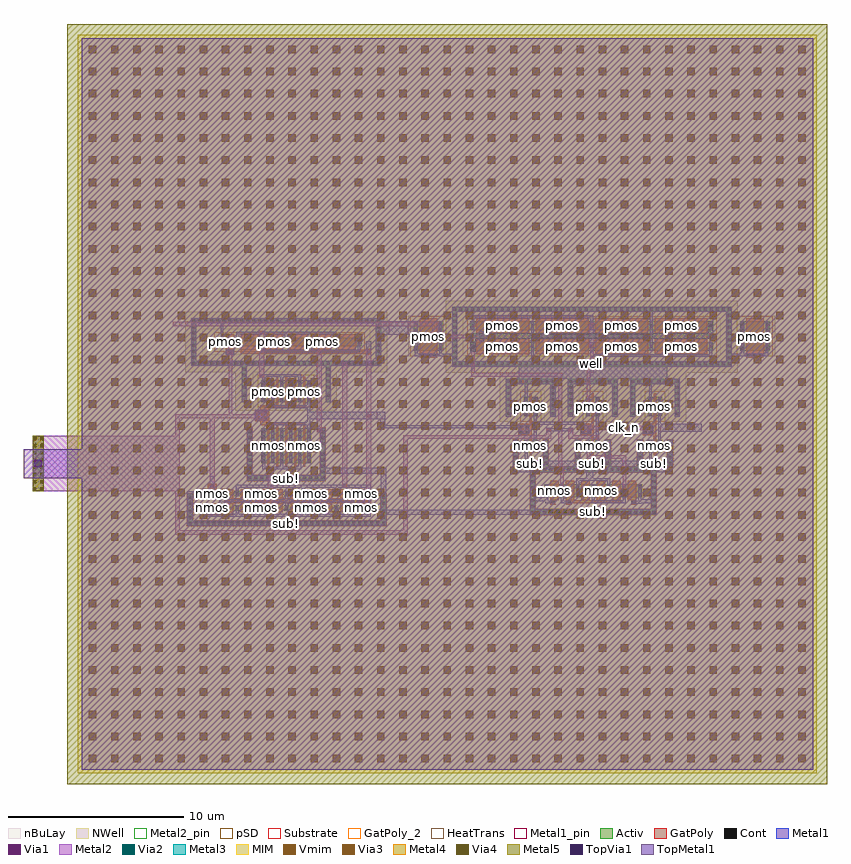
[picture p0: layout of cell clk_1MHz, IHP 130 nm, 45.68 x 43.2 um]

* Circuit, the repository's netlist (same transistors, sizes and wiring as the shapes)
** sch_path: /foss/designs/xschemas/clk_1MHz.sch
.subckt clk_1MHz VDD VSS VOUT I1u nbulk
*.PININFO VDD:B VSS:B VOUT:O I1u:I
XINV1 VDD Pbulk VOUT2 net1 Nbulk VSS ring_inv
XINV3 net2 Pbulk net3 VOUT2 Nbulk cpy_n ring_inv
XSCHMITT1 VSS VDD net1 net3 Nbulk VDD ring_schmitt
M2 net2 I1u VDD Pbulk sg13_lv_pmos w=3u l=3u ng=6
M3 cpy_n ref_n VSS Nbulk sg13_lv_nmos w=0.75u l=0.5u ng=1 m=3
M4 ref_n I1u VDD Pbulk sg13_lv_pmos w=1u l=3u ng=2
M5 ref_n ref_n VSS Nbulk sg13_lv_nmos w=0.75u l=0.5u ng=1
XINV2 VDD Pbulk VOUT VOUT2 Nbulk VSS ring_inv
C1 net3 VSS cap_cmim w=42e-6 l=42e-6
R1 VSS Nbulk ptap1 A=16.9974e-12 P=106.74e-6
R2 VDD Pbulk ntap1 A=17.115e-12 P=115.9e-6
M1 ref_n VSS VSS Nbulk sg13_lv_nmos w=0.75u l=0.5u ng=1
M6 VSS VSS cpy_n Nbulk sg13_lv_nmos w=0.75u l=0.5u ng=1
M7 VDD VDD VDD Pbulk sg13_lv_pmos w=1.68u l=1u ng=1 m=2
.ends

* expanding   symbol:  /foss/designs/xschemas/ring_inv.sym # of pins=6
** sym_path: /foss/designs/xschemas/ring_inv.sym
** sch_path: /foss/designs/xschemas/ring_inv.sch
.subckt ring_inv VDP Pbulk Y A Nbulk VSN
*.PININFO A:I Y:O Pbulk:B Nbulk:B VDP:B VSN:B
M1 Y A VSN Nbulk sg13_lv_nmos w=0.7u l=0.13u ng=1
M2 Y A VDP Pbulk sg13_lv_pmos w=1.12u l=0.13u ng=1
.ends


* expanding   symbol:  /foss/designs/xschemas/ring_schmitt.sym # of pins=4
** sym_path: /foss/designs/xschemas/ring_schmitt.sym
** sch_path: /foss/designs/xschemas/ring_schmitt.sch
.subckt ring_schmitt VSS VDD Y A nbulk pbulk
*.PININFO A:I Y:O VDD:B VSS:B
M1 Y A VSPL nbulk sg13_lv_nmos w=10u l=0.13u ng=5
M2 Y A net1 pbulk sg13_lv_pmos w=6.25u l=0.13u ng=5
M3 VSPL A VSS nbulk sg13_lv_nmos w=0.155u l=0.5u ng=1
M4 net1 A VDD pbulk sg13_lv_pmos w=0.5u l=0.5u ng=1
M5 VSS Y net1 pbulk sg13_lv_pmos w=2.5u l=1u ng=1
M6 VDD Y VSPL nbulk sg13_lv_nmos w=2.945u l=0.5u ng=19
.ends

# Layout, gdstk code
import gdstk
lib = gdstk.Library(unit=1e-6, precision=1e-09)
def R(c, l, rs):  # rectangles x0, y0, x1, y1
    for r in rs: c.add(gdstk.rectangle(r[:2], r[2:], *l))
def A(c, l, x, y, w, h, nx, ny, dx, dy):  # array of equal rectangles
    R(c, l, [(x+i*dx, y+j*dy, x+i*dx+w, y+j*dy+h) for i in range(nx) for j in range(ny)])
def P(c, l, *ps):  # polygons
    for p in ps: c.add(gdstk.Polygon(p, *l))
Activ = (1, 0)
GatPoly = (5, 0)
GatPoly_2 = (5, 2)
Cont = (6, 0)
Metal1 = (8, 0)
Metal1_pin = (8, 2)
Metal2 = (10, 0)
Metal2_pin = (10, 2)
pSD = (14, 0)
Via1 = (19, 0)
Via2 = (29, 0)
Metal3 = (30, 0)
NWell = (31, 0)
nBuLay = (32, 0)
MIM = (36, 0)
Substrate = (40, 0)
Via3 = (49, 0)
Metal4 = (50, 0)
HeatTrans = (51, 0)
Via4 = (66, 0)
Metal5 = (67, 0)
TopVia1 = (125, 0)
TopMetal1 = (126, 0)
Vmim = (129, 0)

clk_1mhz = lib.new_cell('clk_1MHz')
A(clk_1mhz, Activ, 10.1, 15.545, 0.3, 0.3, 11, 2, 0.94, 0.815)
A(clk_1mhz, Activ, 29.585, 16.295, 0.3, 0.3, 7, 1, 0.88, 0)
A(clk_1mhz, Activ, 13.495, 18.22, 0.3, 0.3, 6, 2, 0.51, 3.485)
A(clk_1mhz, Activ, 28.415, 18.865, 0.81, 0.7, 3, 1, 3.53, 0)
A(clk_1mhz, Activ, 28.415, 20.9, 0.81, 1.12, 3, 1, 3.53, 0)
A(clk_1mhz, Activ, 27.405, 22.73, 2.83, 0.3, 3, 1, 3.53, 0)
A(clk_1mhz, Activ, 25.385, 24.815, 0.3, 0.3, 5, 2, 3.38, 1.18)
A(clk_1mhz, Activ, 12.01, 24.875, 0.3, 0.3, 6, 1, 1.38, 0)
R(clk_1mhz, Activ, [(9.3,14.675,20.6,14.975), (9.3,14.975,9.6,16.49), (20.3,14.975,20.6,16.49), (28.785,15.315,35.965,15.615), (10.1,15.615,19.8,15.77), (28.785,15.615,29.085,17.725), (35.665,15.615,35.965,17.725), (29.585,16.295,35.165,17.045), (10.1,16.43,19.8,16.585), (12.695,17.24,17.145,17.54), (12.695,17.54,12.995,20.22), (16.845,17.54,17.145,20.22), (31.345,18.02,33.355,18.085), (28.785,18.025,29.825,18.085), (34.875,18.025,35.965,18.085), (13.495,18.22,16.345,20.22), (28.415,18.865,28.715,19.165), (28.925,18.865,29.225,19.165), (31.945,18.865,32.245,19.165), (32.455,18.865,32.755,19.165), (35.475,18.865,35.775,19.165), (35.985,18.865,36.285,19.165), (27.405,20.87,27.705,22.73), (29.935,20.87,30.235,22.73), (30.935,20.87,31.235,22.73), (33.465,20.87,33.765,22.73), (34.465,20.87,34.765,22.73), (36.995,20.87,37.295,22.73), (28.415,20.9,28.715,21.2), (28.925,20.9,29.225,21.2), (31.945,20.9,32.245,21.2), (32.455,20.9,32.755,21.2), (35.475,20.9,35.775,21.2), (35.985,20.9,36.285,21.2), (12.385,21.705,12.685,23.765), (13.495,21.705,16.345,22.955), (17.155,21.705,17.455,23.765), (24.345,23.73,40.245,24.03), (12.385,23.765,17.455,24.065), (24.345,24.03,24.645,26.83), (39.945,24.03,40.245,26.83), (9.52,24.065,9.82,26.185), (20.02,24.065,20.32,26.185), (22.16,24.615,22.46,24.915), (22.16,24.615,23.84,26.295), (23.54,24.615,23.84,24.915), (25.385,24.615,39.205,25.115), (40.72,24.615,41.02,24.915), (40.72,24.615,42.4,26.295), (42.1,24.615,42.4,24.915), (11.07,24.875,19.21,25.375), (11.125,24.875,11.425,25.175), (25.385,25.795,39.205,26.295), (9.52,26.185,20.32,26.485)])
P(clk_1mhz, Activ, [(24.345,23.73),(24.345,26.83),(24.645,26.83),(24.645,24.03),(39.945,24.03),(39.945,26.83),(24.345,26.83),(24.345,27.13),(40.245,27.13),(40.245,23.73)],
  [(31.345,18.085),(31.345,19.565),(31.645,19.565),(31.645,18.385),(33.055,18.385),(33.055,19.565),(33.355,19.565),(33.355,18.085)],
  [(27.815,18.085),(27.815,19.565),(28.115,19.565),(28.115,18.385),(29.525,18.385),(29.525,19.565),(29.825,19.565),(29.825,18.085)],
  [(34.875,18.085),(34.875,19.565),(35.175,19.565),(35.175,18.385),(36.585,18.385),(36.585,19.565),(36.885,19.565),(36.885,18.085)],
  [(28.785,15.315),(28.785,17.725),(29.085,17.725),(29.085,15.615),(35.665,15.615),(35.665,17.725),(28.785,17.725),(28.785,18.025),(35.965,18.025),(35.965,15.315)],
  [(9.52,23.765),(9.52,26.185),(9.82,26.185),(9.82,24.065),(20.02,24.065),(20.02,26.185),(9.52,26.185),(9.52,26.485),(20.32,26.485),(20.32,23.765)])
R(clk_1mhz, GatPoly, [(10.47,16.25,10.97,17.065), (11.47,24.395,11.97,25.555)])
P(clk_1mhz, GatPoly, [(10.47,15.285),(10.47,15.95),(10.97,15.95),(10.97,15.435),(11.41,15.435),(11.41,16.765),(11.91,16.765),(11.91,16.25),(12.35,16.25),(12.35,16.765),(12.85,16.765),(12.85,16.25),(13.29,16.25),(13.29,16.765),(13.79,16.765),(13.79,16.25),(14.23,16.25),(14.23,16.765),(14.73,16.765),(14.73,16.25),(15.17,16.25),(15.17,16.765),(15.67,16.765),(15.67,16.25),(16.11,16.25),(16.11,16.765),(16.61,16.765),(16.61,16.25),(17.05,16.25),(17.05,16.765),(17.55,16.765),(17.55,16.25),(17.99,16.25),(17.99,16.765),(18.49,16.765),(18.49,16.25),(18.93,16.25),(18.93,16.765),(19.43,16.765),(19.43,16.25),(19.57,16.25),(19.57,15.95),(19.43,15.95),(19.43,15.435),(18.93,15.435),(18.93,15.95),(18.49,15.95),(18.49,15.435),(17.99,15.435),(17.99,15.95),(17.55,15.95),(17.55,15.435),(17.05,15.435),(17.05,15.95),(16.61,15.95),(16.61,15.435),(16.11,15.435),(16.11,15.95),(15.67,15.95),(15.67,15.435),(15.17,15.435),(15.17,15.95),(14.73,15.95),(14.73,15.435),(14.23,15.435),(14.23,15.95),(13.79,15.95),(13.79,15.435),(13.29,15.435),(13.29,15.95),(12.85,15.95),(12.85,15.435),(12.35,15.435),(12.35,15.95),(11.91,15.95),(11.91,15.285)],
  [(29.925,15.875),(29.925,17.225),(30.425,17.225),(30.425,16.115),(30.225,16.115),(30.225,15.875)],
  [(30.845,15.875),(30.845,15.955),(30.805,15.955),(30.805,17.225),(31.305,17.225),(31.305,16.115),(31.685,16.115),(31.685,17.225),(32.185,17.225),(32.185,16.115),(32.565,16.115),(32.565,17.225),(33.065,17.225),(33.065,16.115),(33.445,16.115),(33.445,17.225),(33.945,17.225),(33.945,15.955),(31.145,15.955),(31.145,15.875)],
  [(34.525,15.865),(34.525,16.115),(34.325,16.115),(34.325,17.225),(34.825,17.225),(34.825,15.865)],
  [(28.755,18.685),(28.755,19.825),(28.115,19.825),(28.115,20.465),(28.755,20.465),(28.755,22.2),(28.885,22.2),(28.885,18.685)],
  [(32.285,18.685),(32.285,19.825),(31.645,19.825),(31.645,20.465),(32.285,20.465),(32.285,22.2),(32.415,22.2),(32.415,18.685)],
  [(35.815,18.685),(35.815,19.825),(35.175,19.825),(35.175,20.465),(35.815,20.465),(35.815,22.2),(35.945,22.2),(35.945,18.685)],
  [(13.835,18.04),(13.835,20.4),(13.45,20.4),(13.45,20.63),(13.17,20.63),(13.17,21.27),(13.45,21.27),(13.45,21.525),(13.835,21.525),(13.835,23.135),(13.965,23.135),(13.965,21.525),(14.345,21.525),(14.345,23.135),(14.475,23.135),(14.475,21.525),(14.855,21.525),(14.855,23.135),(14.985,23.135),(14.985,21.525),(15.365,21.525),(15.365,23.135),(15.495,23.135),(15.495,21.525),(15.875,21.525),(15.875,23.135),(16.005,23.135),(16.005,21.395),(13.965,21.395),(13.965,20.53),(16.005,20.53),(16.005,18.04),(15.875,18.04),(15.875,20.4),(15.495,20.4),(15.495,18.04),(15.365,18.04),(15.365,20.4),(14.985,20.4),(14.985,18.04),(14.855,18.04),(14.855,20.4),(14.475,20.4),(14.475,18.04),(14.345,18.04),(14.345,20.4),(13.965,20.4),(13.965,18.04)],
  [(19.455,24.435),(19.455,24.47),(12.35,24.47),(12.35,25.555),(13.35,25.555),(13.35,24.695),(13.73,24.695),(13.73,25.555),(14.73,25.555),(14.73,24.695),(15.11,24.695),(15.11,25.555),(16.11,25.555),(16.11,24.695),(16.49,24.695),(16.49,25.555),(17.49,25.555),(17.49,24.695),(17.87,24.695),(17.87,25.555),(18.87,25.555),(18.87,24.695),(19.455,24.695),(19.455,24.735),(19.755,24.735),(19.755,24.435)],
  [(22.52,24.24),(22.52,24.435),(22.5,24.435),(22.5,26.475),(23.5,26.475),(23.5,24.24)],
  [(25.725,24.435),(25.725,26.475),(28.725,26.475),(28.725,25.615),(29.105,25.615),(29.105,26.475),(32.105,26.475),(32.105,25.615),(32.485,25.615),(32.485,26.475),(35.485,26.475),(35.485,25.615),(35.865,25.615),(35.865,26.475),(38.865,26.475),(38.865,24.435),(35.865,24.435),(35.865,25.295),(35.485,25.295),(35.485,24.435),(32.485,24.435),(32.485,25.295),(32.105,25.295),(32.105,24.435),(29.105,24.435),(29.105,25.295),(28.725,25.295),(28.725,24.435)],
  [(41.06,24.24),(41.06,26.475),(42.06,26.475),(42.06,24.435),(42.04,24.435),(42.04,24.24)])
A(clk_1mhz, GatPoly_2, 28.755, 18.685, 0.13, 1.06, 3, 1, 3.53, 0)
R(clk_1mhz, GatPoly_2, [(10.47,15.435,10.97,15.95), (29.925,16.115,30.425,17.225), (10.47,16.25,10.97,16.765), (15.875,18.04,16.005,20.4)])
A(clk_1mhz, Cont, 9.37, 14.745, 0.16, 0.16, 16, 1, 0.34, 0)
A(clk_1mhz, Cont, 14.93, 14.745, 0.16, 0.16, 17, 1, 0.34, 0)
A(clk_1mhz, Cont, 28.855, 15.385, 0.16, 0.16, 10, 2, 0.34, 2.41)
A(clk_1mhz, Cont, 32.335, 15.385, 0.16, 0.16, 11, 2, 0.34, 2.41)
A(clk_1mhz, Cont, 10.17, 15.615, 0.16, 0.16, 11, 2, 0.94, 0.815)
A(clk_1mhz, Cont, 28.855, 15.725, 0.16, 0.16, 1, 3, 0, 0.34)
A(clk_1mhz, Cont, 35.735, 15.725, 0.16, 0.16, 1, 3, 0, 0.34)
A(clk_1mhz, Cont, 29.655, 16.365, 0.16, 0.16, 7, 2, 0.88, 0.45)
A(clk_1mhz, Cont, 28.855, 16.775, 0.16, 0.16, 1, 3, 0, 0.34)
A(clk_1mhz, Cont, 35.735, 16.775, 0.16, 0.16, 1, 3, 0, 0.34)
A(clk_1mhz, Cont, 12.765, 17.31, 0.16, 0.16, 7, 1, 0.34, 0)
A(clk_1mhz, Cont, 15.215, 17.31, 0.16, 0.16, 6, 1, 0.34, 0)
A(clk_1mhz, Cont, 12.765, 17.65, 0.16, 0.16, 1, 4, 0, 0.34)
A(clk_1mhz, Cont, 16.915, 17.65, 0.16, 0.16, 1, 4, 0, 0.34)
A(clk_1mhz, Cont, 27.885, 18.155, 0.16, 0.16, 3, 1, 0.34, 0)
A(clk_1mhz, Cont, 28.915, 18.155, 0.16, 0.16, 3, 1, 0.34, 0)
A(clk_1mhz, Cont, 31.415, 18.155, 0.16, 0.16, 3, 1, 0.34, 0)
A(clk_1mhz, Cont, 32.445, 18.155, 0.16, 0.16, 3, 1, 0.34, 0)
A(clk_1mhz, Cont, 34.945, 18.155, 0.16, 0.16, 3, 1, 0.34, 0)
A(clk_1mhz, Cont, 35.975, 18.155, 0.16, 0.16, 3, 1, 0.34, 0)
A(clk_1mhz, Cont, 13.565, 18.29, 0.16, 0.16, 6, 6, 0.51, 0.34)
A(clk_1mhz, Cont, 29.595, 19.195, 0.16, 0.16, 3, 1, 3.53, 0)
A(clk_1mhz, Cont, 27.885, 19.2, 0.16, 0.16, 3, 1, 3.53, 0)
A(clk_1mhz, Cont, 12.765, 19.27, 0.16, 0.16, 1, 3, 0, 0.34)
A(clk_1mhz, Cont, 16.915, 19.27, 0.16, 0.16, 1, 3, 0, 0.34)
A(clk_1mhz, Cont, 28.485, 20.97, 0.16, 0.16, 1, 3, 0, 0.41)
A(clk_1mhz, Cont, 28.995, 20.97, 0.16, 0.16, 1, 3, 0, 0.41)
A(clk_1mhz, Cont, 32.015, 20.97, 0.16, 0.16, 1, 3, 0, 0.41)
A(clk_1mhz, Cont, 32.525, 20.97, 0.16, 0.16, 1, 3, 0, 0.41)
A(clk_1mhz, Cont, 35.545, 20.97, 0.16, 0.16, 1, 3, 0, 0.41)
A(clk_1mhz, Cont, 36.055, 20.97, 0.16, 0.16, 1, 3, 0, 0.41)
A(clk_1mhz, Cont, 27.475, 21.44, 0.16, 0.16, 1, 4, 0, 0.34)
A(clk_1mhz, Cont, 30.005, 21.44, 0.16, 0.16, 1, 4, 0, 0.34)
A(clk_1mhz, Cont, 31.005, 21.44, 0.16, 0.16, 1, 4, 0, 0.34)
A(clk_1mhz, Cont, 33.535, 21.44, 0.16, 0.16, 1, 4, 0, 0.34)
A(clk_1mhz, Cont, 34.535, 21.44, 0.16, 0.16, 1, 4, 0, 0.34)
A(clk_1mhz, Cont, 37.065, 21.44, 0.16, 0.16, 1, 4, 0, 0.34)
A(clk_1mhz, Cont, 13.565, 21.775, 0.16, 0.16, 6, 3, 0.51, 0.475)
A(clk_1mhz, Cont, 12.455, 22.475, 0.16, 0.16, 1, 4, 0, 0.34)
A(clk_1mhz, Cont, 17.225, 22.475, 0.16, 0.16, 1, 4, 0, 0.34)
A(clk_1mhz, Cont, 27.475, 22.8, 0.16, 0.16, 4, 1, 0.34, 0)
A(clk_1mhz, Cont, 28.985, 22.8, 0.16, 0.16, 4, 1, 0.34, 0)
A(clk_1mhz, Cont, 31.005, 22.8, 0.16, 0.16, 4, 1, 0.34, 0)
A(clk_1mhz, Cont, 32.515, 22.8, 0.16, 0.16, 4, 1, 0.34, 0)
A(clk_1mhz, Cont, 34.535, 22.8, 0.16, 0.16, 4, 1, 0.34, 0)
A(clk_1mhz, Cont, 36.045, 22.8, 0.16, 0.16, 4, 1, 0.34, 0)
A(clk_1mhz, Cont, 24.415, 23.8, 0.16, 0.16, 23, 2, 0.34, 3.1)
A(clk_1mhz, Cont, 32.535, 23.8, 0.16, 0.16, 23, 2, 0.34, 3.1)
A(clk_1mhz, Cont, 9.59, 23.835, 0.16, 0.16, 15, 2, 0.34, 2.42)
A(clk_1mhz, Cont, 15.185, 23.835, 0.16, 0.16, 7, 1, 0.34, 0)
A(clk_1mhz, Cont, 17.71, 23.835, 0.16, 0.16, 8, 1, 0.34, 0)
A(clk_1mhz, Cont, 24.415, 24.14, 0.16, 0.16, 1, 4, 0, 0.34)
A(clk_1mhz, Cont, 40.015, 24.14, 0.16, 0.16, 1, 4, 0, 0.34)
A(clk_1mhz, Cont, 9.59, 24.175, 0.16, 0.16, 1, 3, 0, 0.34)
A(clk_1mhz, Cont, 20.09, 24.175, 0.16, 0.16, 1, 3, 0, 0.34)
A(clk_1mhz, Cont, 22.59, 24.31, 0.16, 0.16, 3, 1, 0.34, 0)
A(clk_1mhz, Cont, 41.13, 24.31, 0.16, 0.16, 3, 1, 0.34, 0)
A(clk_1mhz, Cont, 22.23, 24.685, 0.16, 0.16, 1, 5, 0, 0.345)
A(clk_1mhz, Cont, 23.61, 24.685, 0.16, 0.16, 1, 5, 0, 0.345)
A(clk_1mhz, Cont, 40.79, 24.685, 0.16, 0.16, 1, 5, 0, 0.345)
A(clk_1mhz, Cont, 42.17, 24.685, 0.16, 0.16, 1, 5, 0, 0.345)
A(clk_1mhz, Cont, 25.455, 24.785, 0.16, 0.16, 5, 2, 3.38, 1.18)
A(clk_1mhz, Cont, 12.08, 25.045, 0.16, 0.16, 6, 1, 1.38, 0)
A(clk_1mhz, Cont, 9.59, 25.235, 0.16, 0.16, 1, 3, 0, 0.34)
A(clk_1mhz, Cont, 20.09, 25.235, 0.16, 0.16, 1, 3, 0, 0.34)
A(clk_1mhz, Cont, 24.415, 25.54, 0.16, 0.16, 1, 4, 0, 0.34)
A(clk_1mhz, Cont, 40.015, 25.54, 0.16, 0.16, 1, 4, 0, 0.34)
A(clk_1mhz, Cont, 14.99, 26.255, 0.16, 0.16, 16, 1, 0.34, 0)
R(clk_1mhz, Cont, [(9.37,15.085,9.53,15.245), (20.37,15.085,20.53,15.245), (9.37,15.425,9.53,15.585), (20.37,15.425,20.53,15.585), (9.37,15.88,9.53,16.04), (20.37,15.88,20.53,16.04), (34.595,15.935,34.755,16.095), (29.995,15.945,30.155,16.105), (30.915,15.945,31.075,16.105), (19.095,16.025,19.255,16.185), (9.37,16.22,9.53,16.38), (20.37,16.22,20.53,16.38), (10.645,16.835,10.805,16.995), (27.885,18.495,28.045,18.655), (29.595,18.495,29.755,18.655), (31.415,18.495,31.575,18.655), (33.125,18.495,33.285,18.655), (34.945,18.495,35.105,18.655), (36.655,18.495,36.815,18.655), (27.885,18.835,28.045,18.995), (29.595,18.835,29.755,18.995), (31.415,18.835,31.575,18.995), (33.125,18.835,33.285,18.995), (34.945,18.835,35.105,18.995), (36.655,18.835,36.815,18.995), (28.485,18.935,28.645,19.095), (28.995,18.935,29.155,19.095), (32.015,18.935,32.175,19.095), (32.525,18.935,32.685,19.095), (35.545,18.935,35.705,19.095), (36.055,18.935,36.215,19.095), (28.485,19.335,28.645,19.495), (28.995,19.335,29.155,19.495), (32.015,19.335,32.175,19.495), (32.525,19.335,32.685,19.495), (35.545,19.335,35.705,19.495), (36.055,19.335,36.215,19.495), (28.185,19.895,28.345,20.055), (28.525,19.895,28.685,20.055), (31.715,19.895,31.875,20.055), (32.055,19.895,32.215,20.055), (35.245,19.895,35.405,20.055), (35.585,19.895,35.745,20.055), (28.185,20.235,28.345,20.395), (28.525,20.235,28.685,20.395), (31.715,20.235,31.875,20.395), (32.055,20.235,32.215,20.395), (35.245,20.235,35.405,20.395), (35.585,20.235,35.745,20.395), (13.24,20.7,13.4,20.86), (13.58,20.7,13.74,20.86), (27.475,20.98,27.635,21.14), (30.005,20.98,30.165,21.14), (31.005,20.98,31.165,21.14), (33.535,20.98,33.695,21.14), (34.535,20.98,34.695,21.14), (37.065,20.98,37.225,21.14), (13.24,21.04,13.4,21.2), (13.58,21.04,13.74,21.2), (12.455,22.025,12.615,22.185), (17.225,22.025,17.385,22.185), (14.835,23.835,14.995,23.995), (11.64,24.465,11.8,24.625), (19.525,24.505,19.685,24.665), (11.195,25.045,11.355,25.205), (25.96,25.37,26.12,25.53)])
R(clk_1mhz, Metal1, [(18.97,15.96,19.385,16.25), (10.58,16.81,10.87,17.48), (35.195,19.895,35.795,20.395), (13.14,20.64,13.84,21.26), (11.47,24.395,11.97,24.695), (19.46,24.48,19.75,25.18)])
P(clk_1mhz, Metal1, [(11.11,15.555),(11.11,16.66),(11.27,16.66),(11.27,16.18),(12.99,16.18),(12.99,16.66),(13.15,16.66),(13.15,16.18),(13.4,16.18),(13.4,16.21),(13.69,16.21),(13.69,16.18),(14.87,16.18),(14.87,16.66),(15.03,16.66),(15.03,16.18),(16.75,16.18),(16.75,16.66),(16.91,16.66),(16.91,16.18),(18.63,16.18),(18.63,16.66),(18.79,16.66),(18.79,15.555),(18.63,15.555),(18.63,16.02),(16.91,16.02),(16.91,15.555),(16.75,15.555),(16.75,16.02),(15.03,16.02),(15.03,15.555),(14.87,15.555),(14.87,16.02),(13.69,16.02),(13.69,16),(13.4,16),(13.4,16.02),(13.15,16.02),(13.15,15.555),(12.99,15.555),(12.99,16.02),(11.27,16.02),(11.27,15.555)],
  [(30.535,15.945),(30.535,16.755),(30.505,16.755),(30.505,17.045),(30.715,17.045),(30.715,16.755),(30.695,16.755),(30.695,16.105),(31.125,16.105),(31.125,15.945)],
  [(32.295,15.955),(32.295,17.045),(32.455,17.045),(32.455,16.115),(34.055,16.115),(34.055,16.745),(34.035,16.745),(34.035,17.035),(34.055,17.035),(34.055,17.045),(34.215,17.045),(34.215,17.035),(34.245,17.035),(34.245,16.745),(34.215,16.745),(34.215,15.955)],
  [(10.17,15.2),(10.17,15.83),(10.33,15.83),(10.33,15.36),(12.05,15.36),(12.05,15.83),(12.21,15.83),(12.21,15.36),(13.93,15.36),(13.93,15.83),(14.09,15.83),(14.09,15.36),(15.81,15.36),(15.81,15.83),(15.97,15.83),(15.97,15.36),(17.69,15.36),(17.69,15.83),(17.85,15.83),(17.85,15.36),(19.57,15.36),(19.57,16.84),(17.85,16.84),(17.85,16.36),(17.69,16.36),(17.69,16.84),(15.97,16.84),(15.97,16.36),(15.81,16.36),(15.81,16.84),(14.09,16.84),(14.09,16.36),(13.93,16.36),(13.93,16.84),(12.21,16.84),(12.21,16.36),(12.05,16.36),(12.05,17),(18.11,17),(18.11,17.06),(18.4,17.06),(18.4,17),(19.73,17),(19.73,15.2)],
  [(32.015,18.865),(32.015,18.875),(31.99,18.875),(31.99,19.165),(32.015,19.165),(32.015,19.565),(32.175,19.565),(32.175,19.165),(32.2,19.165),(32.2,18.875),(32.175,18.875),(32.175,18.865)],
  [(13.88,17.82),(13.88,17.88),(13.565,17.88),(13.565,20.22),(13.725,20.22),(13.725,18.04),(14.585,18.04),(14.585,20.22),(14.745,20.22),(14.745,18.04),(15.605,18.04),(15.605,20.22),(15.765,20.22),(15.765,17.88),(14.17,17.88),(14.17,17.82)],
  [(9.3,14.675),(9.3,16.65),(10.365,16.65),(10.365,16.36),(9.6,16.36),(9.6,14.975),(20.3,14.975),(20.3,17.625),(17.145,17.625),(17.145,17.24),(12.695,17.24),(12.695,20.22),(12.995,20.22),(12.995,17.54),(16.845,17.54),(16.845,20),(16.655,20),(16.655,20.21),(16.845,20.21),(16.845,20.22),(17.145,20.22),(17.145,17.97),(20.6,17.97),(20.6,15.6),(28.785,15.6),(28.785,17.72),(32.375,17.72),(32.375,17.385),(33.335,17.385),(33.335,16.295),(33.175,16.295),(33.175,17.225),(31.575,17.225),(31.575,16.295),(31.415,16.295),(31.415,17.385),(31.97,17.385),(31.97,17.72),(29.085,17.72),(29.085,16.295),(29.655,16.295),(29.655,17.045),(29.815,17.045),(29.815,16.105),(30.205,16.105),(30.205,15.945),(29.655,15.945),(29.655,16.065),(29.085,16.065),(29.085,15.615),(35.665,15.615),(35.665,15.96),(35.095,15.96),(35.095,15.935),(34.545,15.935),(34.545,16.095),(34.935,16.095),(34.935,17.045),(35.095,17.045),(35.095,16.185),(35.665,16.185),(35.665,17.72),(27.785,17.72),(27.785,18.38),(27.815,18.38),(27.815,19.565),(28.115,19.565),(28.115,18.385),(28.485,18.385),(28.485,19.565),(28.645,19.565),(28.645,18.385),(29.525,18.385),(29.525,19.565),(29.825,19.565),(29.825,18.38),(31.345,18.38),(31.345,19.565),(31.645,19.565),(31.645,18.385),(33.055,18.385),(33.055,19.565),(33.355,19.565),(33.355,18.38),(34.875,18.38),(34.875,19.565),(35.175,19.565),(35.175,18.385),(35.545,18.385),(35.545,19.565),(35.705,19.565),(35.705,18.385),(36.585,18.385),(36.585,19.565),(36.885,19.565),(36.885,17.72),(35.965,17.72),(35.965,15.315),(30.35,15.315),(30.35,15.3),(20.6,15.3),(20.6,14.675)],
  [(29.695,20.03),(29.695,20.24),(29.985,20.24),(29.985,20.225),(30.94,20.225),(30.94,20.24),(31.23,20.24),(31.23,20.03),(30.94,20.03),(30.94,20.05),(29.985,20.05),(29.985,20.03)],
  [(28.995,18.865),(28.995,22.02),(29.155,22.02),(29.155,20.58),(31.875,20.58),(31.875,20.395),(32.265,20.395),(32.265,19.895),(31.665,19.895),(31.665,20.42),(29.155,20.42),(29.155,18.865)],
  [(32.015,20.9),(32.015,21.725),(31.99,21.725),(31.99,22.015),(32.015,22.015),(32.015,22.02),(32.175,22.02),(32.175,22.015),(32.2,22.015),(32.2,21.725),(32.175,21.725),(32.175,20.9)],
  [(32.525,18.865),(32.525,19.575),(32.505,19.575),(32.505,19.865),(32.525,19.865),(32.525,22.02),(32.685,22.02),(32.685,19.865),(32.715,19.865),(32.715,19.575),(32.685,19.575),(32.685,18.865)],
  [(36.055,18.865),(36.055,22.02),(36.215,22.02),(36.215,20.465),(38.535,20.465),(38.535,20.03),(36.215,20.03),(36.215,18.865)],
  [(14.075,18.22),(14.075,20.56),(16.115,20.56),(16.115,21.365),(14.075,21.365),(14.075,22.955),(14.235,22.955),(14.235,21.525),(15.095,21.525),(15.095,22.955),(15.255,22.955),(15.255,21.525),(16.115,21.525),(16.115,22.955),(16.275,22.955),(16.275,21.165),(20.56,21.165),(20.56,20.395),(28.735,20.395),(28.735,19.895),(28.135,19.895),(28.135,20.215),(20.27,20.215),(20.27,20.735),(16.275,20.735),(16.275,18.22),(16.115,18.22),(16.115,20.4),(15.255,20.4),(15.255,18.22),(15.095,18.22),(15.095,20.4),(14.235,20.4),(14.235,18.22)],
  [(13.565,21.705),(13.565,23.09),(13.39,23.09),(13.39,23.3),(13.68,23.3),(13.68,23.295),(15.765,23.295),(15.765,21.705),(15.605,21.705),(15.605,23.135),(14.745,23.135),(14.745,21.705),(14.585,21.705),(14.585,23.135),(13.725,23.135),(13.725,21.705)],
  [(32.215,24.275),(32.215,24.805),(32.15,24.805),(32.15,25.015),(32.215,25.015),(32.215,25.115),(32.375,25.115),(32.375,25.015),(32.44,25.015),(32.44,24.805),(32.375,24.805),(32.375,24.435),(38.975,24.435),(38.975,25.115),(39.135,25.115),(39.135,24.275)],
  [(25.395,24.57),(25.395,24.74),(25.39,24.74),(25.39,24.95),(25.395,24.95),(25.395,25.125),(25.68,25.125),(25.68,24.57)],
  [(16.655,24.48),(16.655,24.535),(13.46,24.535),(13.46,25.375),(13.62,25.375),(13.62,24.695),(16.22,24.695),(16.22,25.375),(16.38,25.375),(16.38,24.695),(18.98,24.695),(18.98,25.375),(19.14,25.375),(19.14,24.535),(16.945,24.535),(16.945,24.48)],
  [(25.9,25.175),(25.9,25.345),(25.895,25.345),(25.895,25.555),(25.9,25.555),(25.9,25.73),(26.185,25.73),(26.185,25.175)],
  [(12.08,24.875),(12.08,25.715),(13.39,25.715),(13.39,25.775),(13.68,25.775),(13.68,25.715),(17.76,25.715),(17.76,24.875),(17.6,24.875),(17.6,25.555),(15,25.555),(15,24.875),(14.84,24.875),(14.84,25.555),(12.24,25.555),(12.24,24.875)],
  [(38.92,25.79),(38.92,25.96),(38.915,25.96),(38.915,26.17),(38.92,26.17),(38.92,26.345),(39.205,26.345),(39.205,25.79)],
  [(25.455,25.795),(25.455,26.635),(32.375,26.635),(32.375,26.225),(32.44,26.225),(32.44,26.015),(32.375,26.015),(32.375,25.795),(32.215,25.795),(32.215,26.015),(32.15,26.015),(32.15,26.225),(32.215,26.225),(32.215,26.475),(25.615,26.475),(25.615,25.795)],
  [(27.405,20.87),(27.405,23.03),(28.13,23.03),(28.13,23.73),(24.345,23.73),(24.345,24.305),(22.23,24.305),(22.23,25.53),(20.32,25.53),(20.32,23.765),(17.455,23.765),(17.455,21.705),(17.155,21.705),(17.155,23.765),(12.685,23.765),(12.685,21.705),(12.385,21.705),(12.385,23.765),(9.52,23.765),(9.52,26.185),(11.355,26.185),(11.355,24.875),(11.195,24.875),(11.195,26.185),(9.82,26.185),(9.82,24.065),(20.02,24.065),(20.02,26.185),(9.52,26.185),(9.52,26.485),(20.32,26.485),(20.32,26.295),(22.395,26.295),(22.395,25.53),(22.39,25.53),(22.39,24.47),(23.61,24.47),(23.61,26.295),(23.77,26.295),(23.77,24.47),(24.345,24.47),(24.345,26.83),(24.645,26.83),(24.645,24.03),(28.835,24.03),(28.835,26.295),(28.995,26.295),(28.995,25.56),(35.595,25.56),(35.595,26.83),(35.755,26.83),(35.755,24.615),(35.595,24.615),(35.595,25.35),(28.995,25.35),(28.995,24.03),(39.945,24.03),(39.945,26.83),(24.345,26.83),(24.345,27.13),(40.245,27.13),(40.245,24.47),(40.79,24.47),(40.79,26.295),(40.95,26.295),(40.95,24.47),(42.17,24.47),(42.17,26.295),(42.33,26.295),(42.33,24.305),(40.245,24.305),(40.245,23.73),(36.57,23.73),(36.57,23.03),(37.295,23.03),(37.295,20.87),(36.995,20.87),(36.995,22.73),(35.705,22.73),(35.705,20.9),(35.545,20.9),(35.545,22.73),(34.765,22.73),(34.765,20.87),(34.465,20.87),(34.465,23.025),(33.765,23.025),(33.765,20.87),(33.465,20.87),(33.465,22.73),(31.235,22.73),(31.235,20.87),(30.935,20.87),(30.935,23.025),(30.235,23.025),(30.235,20.87),(29.935,20.87),(29.935,22.73),(28.645,22.73),(28.645,20.9),(28.485,20.9),(28.485,22.73),(27.705,22.73),(27.705,20.87)])
A(clk_1mhz, Metal1_pin, 28.485, 18.085, 0.61, 0.3, 3, 1, 3.53, 0)
A(clk_1mhz, Metal1_pin, 28.995, 20.03, 0.16, 0.275, 3, 1, 3.53, 0)
A(clk_1mhz, Metal1_pin, 28.135, 20.055, 0.21, 0.19, 3, 1, 3.53, 0)
A(clk_1mhz, Metal1_pin, 28.36, 22.73, 0.795, 0.3, 3, 1, 3.53, 0)
R(clk_1mhz, Metal1_pin, [(13.645,14.675,14.435,14.975), (26.345,15.3,28.155,15.6), (10.17,15.56,10.33,15.83), (11.11,15.56,11.27,15.82), (29.655,16.295,29.815,17.045), (30.535,16.295,30.695,17.045), (10.17,16.375,10.33,16.635), (11.11,16.375,11.27,16.635), (15.605,18.22,15.765,20.22), (16.115,18.22,16.275,20.22), (28.485,18.865,28.645,19.565), (28.995,18.865,29.155,19.565), (32.015,18.865,32.175,19.565), (32.525,18.865,32.685,19.565), (35.545,18.865,35.705,19.565), (36.055,18.865,36.215,19.565), (38.02,20.03,38.535,20.465), (20.075,20.735,20.56,21.165), (20.74,25.53,21.86,26.295), (13.795,26.185,15.8,26.485), (29.575,26.83,30.715,27.13)])
R(clk_1mhz, Metal2, [(29.82,15.38,33.8,15.58), (18.11,16.855,18.4,23.98), (16.655,20.005,16.945,24.685), (13.39,23.095,13.68,25.77)])
P(clk_1mhz, Metal2, [(13.4,16.005),(13.4,16.205),(13.88,16.205),(13.88,18.025),(14.17,18.025),(14.17,16.005)],
  [(34.04,16.745),(34.04,17.58),(34.035,17.58),(34.035,18.48),(31.995,18.48),(31.995,19.165),(32.195,19.165),(32.195,18.685),(34.24,18.685),(34.24,16.745)],
  [(32.51,19.575),(32.51,19.615),(30.94,19.615),(30.94,20.235),(31.23,20.235),(31.23,19.815),(32.51,19.815),(32.51,19.865),(32.71,19.865),(32.71,19.575)],
  [(32.04,20.09),(32.04,20.38),(32.24,20.38),(32.24,20.365),(35.225,20.365),(35.225,20.38),(35.425,20.38),(35.425,20.09),(35.225,20.09),(35.225,20.115),(32.24,20.115),(32.24,20.09)],
  [(8.605,14.17),(8.605,16.63),(0.51,16.63),(0.51,19.79),(8.605,19.79),(8.605,21.01),(11.66,21.01),(11.66,24.445),(11.575,24.445),(11.575,24.645),(11.865,24.645),(11.865,21.01),(13.14,21.01),(13.14,21.255),(13.84,21.255),(13.84,20.645),(13.14,20.645),(13.14,20.79),(10.87,20.79),(10.87,16.815),(10.58,16.815),(10.58,20.79),(8.855,20.79),(8.855,14.42),(21.565,14.42),(21.565,19.815),(29.695,19.815),(29.695,20.235),(29.985,20.235),(29.985,19.615),(21.815,19.615),(21.815,14.17)],
  [(19.46,15.96),(19.46,16),(19.03,16),(19.03,16.205),(19.46,16.205),(19.46,24.685),(19.75,24.685),(19.75,15.96)],
  [(30.51,16.755),(30.51,17.725),(30.385,17.725),(30.385,23.16),(25.44,23.16),(25.44,24.745),(25.39,24.745),(25.39,24.945),(25.44,24.945),(25.44,24.965),(25.64,24.965),(25.64,24.945),(25.68,24.945),(25.68,24.745),(25.64,24.745),(25.64,23.38),(30.6,23.38),(30.6,18.055),(30.71,18.055),(30.71,16.755)],
  [(31.995,21.725),(31.995,23.635),(32.19,23.635),(32.19,24.81),(32.15,24.81),(32.15,26.22),(32.44,26.22),(32.44,24.81),(32.39,24.81),(32.39,23.38),(32.195,23.38),(32.195,21.725)],
  [(23.215,25.35),(23.215,26.02),(8.465,26.02),(8.465,26.27),(23.59,26.27),(23.59,25.55),(26.185,25.55),(26.185,25.35)],
  [(38.92,25.33),(38.92,25.965),(38.915,25.965),(38.915,26.165),(38.92,26.165),(38.92,26.345),(39.205,26.345),(39.205,25.33)])
R(clk_1mhz, Metal2_pin, [(9.575,20.79,9.85,21.01), (25.455,23.39,25.63,23.735), (32.225,23.41,32.385,23.755), (23.215,25.35,23.45,25.55), (8.465,26.02,8.875,26.27)])
A(clk_1mhz, pSD, 28.235, 20.6, 1.17, 1.72, 3, 1, 3.53, 0)
R(clk_1mhz, pSD, [(9.27,14.645,20.63,15.005), (9.27,15.005,9.63,16.535), (20.27,15.005,20.63,16.525), (28.755,15.285,35.995,15.645), (28.755,15.645,29.115,17.695), (35.635,15.645,35.995,17.695), (13.315,21.405,16.525,23.255), (21.98,24.315,24.02,26.595), (25.205,24.315,39.385,25.415), (40.54,24.315,42.58,26.595), (10.84,24.575,19.39,25.675), (25.205,25.415,39.385,25.495), (25.205,25.495,39.385,26.595)])
P(clk_1mhz, pSD, [(31.315,18.055),(31.315,19.595),(31.675,19.595),(31.675,18.415),(33.025,18.415),(33.025,19.595),(33.385,19.595),(33.385,18.055)],
  [(27.785,18.055),(27.785,19.595),(28.145,19.595),(28.145,18.415),(29.495,18.415),(29.495,19.595),(29.855,19.595),(29.855,18.055)],
  [(34.845,18.055),(34.845,19.595),(35.205,19.595),(35.205,18.415),(36.555,18.415),(36.555,19.595),(36.915,19.595),(36.915,18.055)],
  [(28.755,15.285),(28.755,17.695),(29.115,17.695),(29.115,15.645),(35.635,15.645),(35.635,17.695),(28.755,17.695),(28.755,18.055),(35.995,18.055),(35.995,15.285)],
  [(12.665,17.21),(12.665,20.275),(13.025,20.275),(13.025,17.57),(16.815,17.57),(16.815,20.275),(17.175,20.275),(17.175,17.21)])
A(clk_1mhz, Via1, 29.87, 15.385, 0.19, 0.19, 10, 1, 0.41, 0)
R(clk_1mhz, Via1, [(13.45,16.01,13.64,16.2), (19.08,16.01,19.27,16.2), (34.045,16.795,34.235,16.985), (30.515,16.805,30.705,16.995), (10.63,16.82,10.82,17.01), (18.16,16.86,18.35,17.05), (13.93,17.83,14.12,18.02), (32,18.925,32.19,19.115), (32.515,19.625,32.705,19.815), (16.705,20.01,16.895,20.2), (29.745,20.04,29.935,20.23), (30.99,20.04,31.18,20.23), (32.045,20.14,32.235,20.33), (35.23,20.14,35.42,20.33), (13.19,20.65,13.38,20.84), (13.6,20.65,13.79,20.84), (19.51,20.84,19.7,21.03), (13.19,21.06,13.38,21.25), (13.6,21.06,13.79,21.25), (32,21.775,32.19,21.965), (13.44,23.1,13.63,23.29), (18.16,23.785,18.35,23.975), (11.625,24.45,11.815,24.64), (16.705,24.49,16.895,24.68), (19.51,24.49,19.7,24.68), (25.44,24.75,25.63,24.94), (32.2,24.815,32.39,25.005), (25.945,25.355,26.135,25.545), (13.44,25.575,13.63,25.765), (38.965,25.97,39.155,26.16), (32.2,26.025,32.39,26.215)])
A(clk_1mhz, Via2, 29.87, 15.385, 0.19, 0.19, 10, 1, 0.41, 0)
A(clk_1mhz, Via2, 0.52, 16.68, 0.19, 0.19, 1, 8, 0, 0.41)
A(clk_1mhz, Via2, 0.93, 16.68, 0.19, 0.19, 1, 8, 0, 0.41)
R(clk_1mhz, Via2, [(25.44,24.75,25.63,24.94), (38.965,25.97,39.155,26.16)])
R(clk_1mhz, Metal3, [(29.82,15.38,33.8,15.58), (0.515,16.63,1.125,19.79)])
P(clk_1mhz, Metal3, [(25.415,24.57),(25.415,24.745),(25.39,24.745),(25.39,24.945),(25.415,24.945),(25.415,25.61),(38.92,25.61),(38.92,25.965),(38.915,25.965),(38.915,26.165),(38.92,26.165),(38.92,26.345),(39.205,26.345),(39.205,25.295),(25.68,25.295),(25.68,24.57)])
A(clk_1mhz, NWell, 27.055, 20.59, 3.53, 2.79, 3, 1, 3.53, 0)
A(clk_1mhz, NWell, 28.105, 20.59, 1.43, 1.74, 3, 1, 3.53, 0)
R(clk_1mhz, NWell, [(12.035,21.23,17.805,24.415), (13.185,21.395,16.655,23.265), (23.995,23.38,40.595,27.48), (9.17,23.415,20.67,26.835), (21.85,24.305,24.15,26.605), (25.075,24.305,39.515,25.425), (40.41,24.305,42.71,26.605), (10.32,24.565,19.52,25.685), (25.075,25.485,39.515,26.605)])
A(clk_1mhz, nBuLay, 27.055, 22.38, 3.53, 1, 3, 1, 3.53, 0)
R(clk_1mhz, nBuLay, [(27.055,20.59,28.055,22.38), (29.585,20.59,30.585,22.38), (30.585,20.59,31.585,22.38), (33.115,20.59,34.115,22.38), (34.115,20.59,35.115,22.38), (36.645,20.59,37.645,22.38), (12.035,21.23,13.035,23.415), (16.805,21.23,17.805,23.415), (23.995,23.38,40.595,24.38), (12.035,23.415,17.805,24.415), (23.995,24.38,24.995,26.48), (39.595,24.38,40.595,26.48), (9.17,24.415,10.17,25.835), (19.67,24.415,20.67,25.835), (9.17,25.835,20.67,26.835)])
P(clk_1mhz, nBuLay, [(23.995,23.38),(23.995,26.48),(24.995,26.48),(24.995,24.38),(39.595,24.38),(39.595,26.48),(23.995,26.48),(23.995,27.48),(40.595,27.48),(40.595,23.38)],
  [(9.17,23.415),(9.17,25.835),(10.17,25.835),(10.17,24.415),(19.67,24.415),(19.67,25.835),(9.17,25.835),(9.17,26.835),(20.67,26.835),(20.67,23.415)])
R(clk_1mhz, MIM, [(3.075,0.6,45.075,42.6)])
A(clk_1mhz, Substrate, 27.785, 18.055, 2.07, 0.36, 3, 1, 3.53, 0)
A(clk_1mhz, Substrate, 28.925, 20.9, 0.3, 0.3, 3, 1, 3.53, 0)
R(clk_1mhz, Substrate, [(9.27,14.645,20.63,15.005), (9.27,15.005,9.63,16.535), (20.27,15.005,20.63,16.525), (28.755,15.285,35.995,15.645), (28.755,15.645,29.115,17.695), (35.635,15.645,35.995,17.695), (27.785,18.415,28.145,19.565), (29.495,18.415,29.855,19.565), (31.315,18.415,31.675,19.565), (33.025,18.415,33.385,19.565), (34.845,18.415,35.205,19.565), (36.555,18.415,36.915,19.565), (13.495,21.705,13.795,22.005), (22.16,24.615,22.46,24.915), (42.1,24.615,42.4,24.915), (25.385,24.815,25.685,25.115), (18.91,24.875,19.21,25.175), (25.385,25.995,25.685,26.295)])
P(clk_1mhz, Substrate, [(28.755,15.285),(28.755,17.695),(29.115,17.695),(29.115,15.645),(35.635,15.645),(35.635,17.695),(28.755,17.695),(28.755,18.055),(35.995,18.055),(35.995,15.285)],
  [(12.665,17.21),(12.665,20.275),(13.025,20.275),(13.025,17.57),(16.815,17.57),(16.815,20.275),(17.175,20.275),(17.175,17.21)])
A(clk_1mhz, Via3, 29.87, 15.385, 0.19, 0.19, 10, 1, 0.41, 0)
A(clk_1mhz, Via3, 0.52, 16.68, 0.19, 0.19, 1, 8, 0, 0.41)
A(clk_1mhz, Via3, 0.93, 16.68, 0.19, 0.19, 1, 8, 0, 0.41)
R(clk_1mhz, Metal4, [(29.82,15.38,33.8,15.58), (0.515,16.63,1.125,19.79)])
A(clk_1mhz, HeatTrans, 10.47, 15.435, 0.5, 0.515, 10, 2, 0.94, 0.815)
A(clk_1mhz, HeatTrans, 29.925, 16.115, 0.5, 1.11, 6, 1, 0.88, 0)
A(clk_1mhz, HeatTrans, 13.835, 18.04, 0.13, 2.36, 5, 1, 0.51, 0)
A(clk_1mhz, HeatTrans, 28.755, 18.685, 0.13, 1.06, 3, 1, 3.53, 0)
A(clk_1mhz, HeatTrans, 28.755, 20.72, 0.13, 1.48, 3, 1, 3.53, 0)
A(clk_1mhz, HeatTrans, 13.835, 21.525, 0.13, 1.61, 5, 1, 0.51, 0)
A(clk_1mhz, HeatTrans, 25.725, 24.435, 3, 0.86, 4, 2, 3.38, 1.18)
A(clk_1mhz, HeatTrans, 12.35, 24.695, 1, 0.86, 5, 1, 1.38, 0)
R(clk_1mhz, HeatTrans, [(22.5,24.435,23.5,26.475), (41.06,24.435,42.06,26.475), (11.47,24.695,11.97,25.555)])
A(clk_1mhz, Via4, 29.87, 15.385, 0.19, 0.19, 10, 1, 0.41, 0)
A(clk_1mhz, Via4, 0.52, 16.68, 0.19, 0.19, 1, 8, 0, 0.41)
A(clk_1mhz, Via4, 0.93, 16.68, 0.19, 0.19, 1, 8, 0, 0.41)
R(clk_1mhz, Metal5, [(2.475,0,45.675,43.2), (0.51,16.63,1.13,19.79)])
R(clk_1mhz, TopVia1, [(0.61,18,1.03,18.42)])
P(clk_1mhz, TopMetal1, [(3.285,0.81),(3.285,17.39),(0,17.39),(0,19.03),(3.285,19.03),(3.285,42.39),(44.865,42.39),(44.865,0.81)])
A(clk_1mhz, Vmim, 3.705, 1.23, 0.42, 0.42, 33, 33, 1.26, 1.26)
clk_1mhz.add(gdstk.Label('clk_n', (34.13,20.27), layer=10, texttype=0))
clk_1mhz.add(gdstk.Label('pmos', (41.56,25.455), layer=63, texttype=0))
clk_1mhz.add(gdstk.Label('pmos', (23,25.455), layer=63, texttype=0))
clk_1mhz.add(gdstk.Label('well', (32.295,23.88), layer=63, texttype=0))
clk_1mhz.add(gdstk.Label('pmos', (37.365,24.865), layer=63, texttype=0))
clk_1mhz.add(gdstk.Label('pmos', (37.365,26.045), layer=63, texttype=0))
clk_1mhz.add(gdstk.Label('pmos', (32.35,21.46), layer=63, texttype=0))
clk_1mhz.add(gdstk.Label('nmos', (32.35,19.215), layer=63, texttype=0))
clk_1mhz.add(gdstk.Label('sub!', (32.35,18.235), layer=63, texttype=0))
clk_1mhz.add(gdstk.Label('pmos', (28.82,21.46), layer=63, texttype=0))
clk_1mhz.add(gdstk.Label('nmos', (28.82,19.215), layer=63, texttype=0))
clk_1mhz.add(gdstk.Label('sub!', (28.82,18.235), layer=63, texttype=0))
clk_1mhz.add(gdstk.Label('pmos', (35.88,21.46), layer=63, texttype=0))
clk_1mhz.add(gdstk.Label('nmos', (35.88,19.215), layer=63, texttype=0))
clk_1mhz.add(gdstk.Label('sub!', (35.88,18.235), layer=63, texttype=0))
clk_1mhz.add(gdstk.Label('nmos', (30.175,16.67), layer=63, texttype=0))
clk_1mhz.add(gdstk.Label('sub!', (32.375,15.465), layer=63, texttype=0))
clk_1mhz.add(gdstk.Label('pmos', (15.94,22.33), layer=63, texttype=0))
clk_1mhz.add(gdstk.Label('sub!', (14.92,17.39), layer=63, texttype=0))
clk_1mhz.add(gdstk.Label('nmos', (15.94,19.22), layer=63, texttype=0))
clk_1mhz.add(gdstk.Label('sub!', (14.95,14.825), layer=63, texttype=0))
clk_1mhz.add(gdstk.Label('nmos', (10.72,15.69), layer=63, texttype=0))
clk_1mhz.add(gdstk.Label('nmos', (10.72,16.508), layer=63, texttype=0))
clk_1mhz.add(gdstk.Label('pmos', (41.56,25.455), layer=51, texttype=0))
clk_1mhz.add(gdstk.Label('pmos', (23,25.455), layer=51, texttype=0))
clk_1mhz.add(gdstk.Label('pmos', (37.365,24.865), layer=51, texttype=0))
clk_1mhz.add(gdstk.Label('pmos', (33.985,24.865), layer=51, texttype=0))
clk_1mhz.add(gdstk.Label('pmos', (30.605,24.865), layer=51, texttype=0))
clk_1mhz.add(gdstk.Label('pmos', (27.225,24.865), layer=51, texttype=0))
clk_1mhz.add(gdstk.Label('pmos', (37.365,26.045), layer=51, texttype=0))
clk_1mhz.add(gdstk.Label('pmos', (33.985,26.045), layer=51, texttype=0))
clk_1mhz.add(gdstk.Label('pmos', (30.605,26.045), layer=51, texttype=0))
clk_1mhz.add(gdstk.Label('pmos', (27.225,26.045), layer=51, texttype=0))
clk_1mhz.add(gdstk.Label('pmos', (32.35,21.46), layer=51, texttype=0))
clk_1mhz.add(gdstk.Label('nmos', (32.35,19.215), layer=51, texttype=0))
clk_1mhz.add(gdstk.Label('pmos', (28.82,21.46), layer=51, texttype=0))
clk_1mhz.add(gdstk.Label('nmos', (28.82,19.215), layer=51, texttype=0))
clk_1mhz.add(gdstk.Label('pmos', (35.88,21.46), layer=51, texttype=0))
clk_1mhz.add(gdstk.Label('nmos', (35.88,19.215), layer=51, texttype=0))
clk_1mhz.add(gdstk.Label('nmos', (30.175,16.67), layer=51, texttype=0))
clk_1mhz.add(gdstk.Label('nmos', (31.055,16.67), layer=51, texttype=0))
clk_1mhz.add(gdstk.Label('nmos', (31.935,16.67), layer=51, texttype=0))
clk_1mhz.add(gdstk.Label('nmos', (32.815,16.67), layer=51, texttype=0))
clk_1mhz.add(gdstk.Label('nmos', (33.695,16.67), layer=51, texttype=0))
clk_1mhz.add(gdstk.Label('nmos', (34.575,16.67), layer=51, texttype=0))
clk_1mhz.add(gdstk.Label('pmos', (15.94,22.33), layer=51, texttype=0))
clk_1mhz.add(gdstk.Label('pmos', (15.43,22.33), layer=51, texttype=0))
clk_1mhz.add(gdstk.Label('pmos', (14.92,22.33), layer=51, texttype=0))
clk_1mhz.add(gdstk.Label('pmos', (14.41,22.33), layer=51, texttype=0))
clk_1mhz.add(gdstk.Label('pmos', (13.9,22.33), layer=51, texttype=0))
clk_1mhz.add(gdstk.Label('nmos', (13.9,19.22), layer=51, texttype=0))
clk_1mhz.add(gdstk.Label('nmos', (14.41,19.22), layer=51, texttype=0))
clk_1mhz.add(gdstk.Label('nmos', (14.92,19.22), layer=51, texttype=0))
clk_1mhz.add(gdstk.Label('nmos', (15.43,19.22), layer=51, texttype=0))
clk_1mhz.add(gdstk.Label('nmos', (15.94,19.22), layer=51, texttype=0))
clk_1mhz.add(gdstk.Label('pmos', (11.47,25.125), layer=51, texttype=0))
clk_1mhz.add(gdstk.Label('pmos', (12.85,25.125), layer=51, texttype=0))
clk_1mhz.add(gdstk.Label('pmos', (14.23,25.125), layer=51, texttype=0))
clk_1mhz.add(gdstk.Label('pmos', (15.61,25.125), layer=51, texttype=0))
clk_1mhz.add(gdstk.Label('pmos', (16.99,25.125), layer=51, texttype=0))
clk_1mhz.add(gdstk.Label('pmos', (18.37,25.125), layer=51, texttype=0))
clk_1mhz.add(gdstk.Label('nmos', (19.18,15.695), layer=51, texttype=0))
clk_1mhz.add(gdstk.Label('nmos', (18.24,15.695), layer=51, texttype=0))
clk_1mhz.add(gdstk.Label('nmos', (17.3,15.695), layer=51, texttype=0))
clk_1mhz.add(gdstk.Label('nmos', (16.36,15.695), layer=51, texttype=0))
clk_1mhz.add(gdstk.Label('nmos', (15.42,15.695), layer=51, texttype=0))
clk_1mhz.add(gdstk.Label('nmos', (14.48,15.695), layer=51, texttype=0))
clk_1mhz.add(gdstk.Label('nmos', (13.54,15.695), layer=51, texttype=0))
clk_1mhz.add(gdstk.Label('nmos', (12.6,15.695), layer=51, texttype=0))
clk_1mhz.add(gdstk.Label('nmos', (11.66,15.695), layer=51, texttype=0))
clk_1mhz.add(gdstk.Label('nmos', (10.72,15.695), layer=51, texttype=0))
clk_1mhz.add(gdstk.Label('nmos', (10.72,16.508), layer=51, texttype=0))
clk_1mhz.add(gdstk.Label('nmos', (11.66,16.508), layer=51, texttype=0))
clk_1mhz.add(gdstk.Label('nmos', (12.6,16.508), layer=51, texttype=0))
clk_1mhz.add(gdstk.Label('nmos', (13.54,16.508), layer=51, texttype=0))
clk_1mhz.add(gdstk.Label('nmos', (14.48,16.508), layer=51, texttype=0))
clk_1mhz.add(gdstk.Label('nmos', (15.42,16.508), layer=51, texttype=0))
clk_1mhz.add(gdstk.Label('nmos', (16.36,16.508), layer=51, texttype=0))
clk_1mhz.add(gdstk.Label('nmos', (17.3,16.508), layer=51, texttype=0))
clk_1mhz.add(gdstk.Label('nmos', (18.24,16.508), layer=51, texttype=0))
clk_1mhz.add(gdstk.Label('nmos', (19.18,16.508), layer=51, texttype=0))

lib.write_gds('clk_1MHz.gds')
